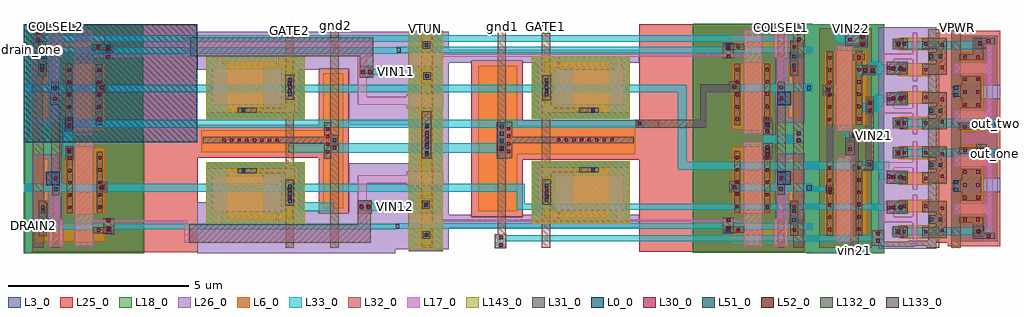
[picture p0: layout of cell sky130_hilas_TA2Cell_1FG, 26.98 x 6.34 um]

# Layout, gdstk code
from math import pi, radians
import gdstk
lib = gdstk.Library(unit=1e-6, precision=1e-09)
def R(c, l, rs):  # rectangles x0, y0, x1, y1
    for r in rs: c.add(gdstk.rectangle(r[:2], r[2:], *l))
def A(c, l, x, y, w, h, nx, ny, dx, dy):  # array of equal rectangles
    R(c, l, [(x+i*dx, y+j*dy, x+i*dx+w, y+j*dy+h) for i in range(nx) for j in range(ny)])
L0_0 = (0, 0)
L3_0 = (3, 0)
L6_0 = (6, 0)
L17_0 = (17, 0)
L18_0 = (18, 0)
L25_0 = (25, 0)
L26_0 = (26, 0)
L30_0 = (30, 0)
L31_0 = (31, 0)
L32_0 = (32, 0)
L33_0 = (33, 0)
L51_0 = (51, 0)
L52_0 = (52, 0)
L132_0 = (132, 0)
L133_0 = (133, 0)
L143_0 = (143, 0)

sky130_hilas_tuncap01 = lib.new_cell('sky130_hilas_TunCap01')
R(sky130_hilas_tuncap01, L3_0, [(0,0,0.94,1.645)])
R(sky130_hilas_tuncap01, L6_0, [(0.27,0.16,0.67,1.485)])
R(sky130_hilas_tuncap01, L18_0, [(0,0,0.94,1.645)])
R(sky130_hilas_tuncap01, L26_0, [(0,0,0.835,1.645)])

m1_od_cdns_6762160964511 = lib.new_cell('M1_OD_CDNS_6762160964511')
R(m1_od_cdns_6762160964511, L6_0, [(-0.075,-0.18,0.075,0.18)])
R(m1_od_cdns_6762160964511, L30_0, [(-0.045,-0.15,0.045,-0.06), (-0.045,0.06,0.045,0.15)])
R(m1_od_cdns_6762160964511, L31_0, [(-0.085,-0.19,0.085,0.19)])

m2_m1_cdns_6762160964512 = lib.new_cell('M2_M1_CDNS_6762160964512')
R(m2_m1_cdns_6762160964512, L31_0, [(-0.09,-0.29,0.09,0.29)])
R(m2_m1_cdns_6762160964512, L32_0, [(-0.09,-0.29,0.09,0.29)])
A(m2_m1_cdns_6762160964512, L51_0, -0.05, -0.25, 0.1, 0.1, 1, 3, 0, 0.2)

sky130_hilas_fgvaractorc = lib.new_cell('sky130_hilas_FGVaractorCapacitor02')
R(sky130_hilas_fgvaractorc, L3_0, [(0,0,2.72,1.735)])
R(sky130_hilas_fgvaractorc, L6_0, [(1.15,0.18,2.15,1.425), (0.33,0.43,0.55,1.425), (0.33,1.425,2.15,1.575)])
R(sky130_hilas_fgvaractorc, L17_0, [(0.64,0.375,2.56,1.375)])
R(sky130_hilas_fgvaractorc, L18_0, [(0,0,2.72,1.735)])
R(sky130_hilas_fgvaractorc, L26_0, [(0.17,0.16,2.72,1.695)])
R(sky130_hilas_fgvaractorc, L30_0, [(1.65,0.195,1.74,0.285)])
R(sky130_hilas_fgvaractorc, L31_0, [(1.32,0.17,1.85,0.305), (0.3,0.52,0.53,1.21)])
R(sky130_hilas_fgvaractorc, L32_0, [(0.28,0.17,0.54,0.49), (0.285,0.17,1.85,0.305), (0.28,0.47,0.54,1.26)])
R(sky130_hilas_fgvaractorc, L51_0, [(1.645,0.19,1.745,0.29)])
R(sky130_hilas_fgvaractorc, L143_0, [(0,0,2.72,1.735)])
sky130_hilas_fgvaractorc.add(gdstk.Reference(m1_od_cdns_6762160964511, (0.42,0.87)))
sky130_hilas_fgvaractorc.add(gdstk.Reference(m2_m1_cdns_6762160964512, (0.41,0.875)))

sky130_hilas_horiztransc = lib.new_cell('sky130_hilas_horizTransCell01')
R(sky130_hilas_horiztransc, L0_0, [(3.815,1.86,4.185,2.23)])
R(sky130_hilas_horiztransc, L3_0, [(1.485,-0.02,4.785,3.24)])
R(sky130_hilas_horiztransc, L6_0, [(2.555,0.29,4.455,0.76), (4.12,1.05,4.45,2.585), (2.555,1.07,3.665,2.91)])
R(sky130_hilas_horiztransc, L17_0, [(2.895,0.15,3.395,0.88), (3.715,0.15,4.115,0.9), (0.355,0.83,3.395,0.89), (2.895,0.855,3.395,3.05), (3.825,0.9,4.115,0.92), (3.825,0.92,4.055,1.58), (3.785,1.58,4.055,1.87), (3.785,1.87,4.055,2.21)])
R(sky130_hilas_horiztransc, L25_0, [(0,0,4.585,0.92), (0,0.92,3.795,3.2)])
R(sky130_hilas_horiztransc, L26_0, [(3.795,0.92,4.58,2.715)])
A(sky130_hilas_horiztransc, L30_0, 3.495, 1.2, 0.09, 0.09, 1, 5, 0, 0.34)
A(sky130_hilas_horiztransc, L30_0, 2.665, 1.21, 0.09, 0.09, 1, 5, 0, 0.34)
R(sky130_hilas_horiztransc, L30_0, [(2.69,0.57,2.78,0.66), (4.24,0.57,4.33,0.66), (4.24,1.205,4.33,1.295), (3.885,2,3.975,2.09)])
R(sky130_hilas_horiztransc, L31_0, [(4.175,0.45,4.395,0.8), (2.375,0.53,2.905,0.7), (4.175,0.8,4.395,0.83), (4.175,0.83,4.395,1.41), (3.455,1.08,3.625,2.69), (2.625,1.09,2.795,2.78), (4.175,1.41,4.395,1.42), (3.825,1.58,4.025,1.59), (3.825,1.59,4.025,1.88), (3.815,1.88,4.055,2.21), (3.455,2.69,3.625,2.88)])
R(sky130_hilas_horiztransc, L32_0, [(3.825,0.13,4.015,1.58), (4.265,0.13,4.435,0.77), (2.315,0.5,2.615,0.94), (4.155,0.77,4.435,1.32), (4.155,1.32,4.435,1.37), (4.265,1.37,4.435,1.46), (4.265,1.46,4.435,3.15), (3.825,1.58,4.055,1.61), (3.805,1.61,4.055,1.88), (3.815,1.88,4.055,1.89), (3.815,1.89,4.045,2.13), (3.815,2.13,4.045,3.15), (3.425,2.56,3.665,2.94)])
R(sky130_hilas_horiztransc, L33_0, [(2.315,0.61,2.615,0.62), (2.315,0.62,4.785,0.8), (2.315,0.8,2.615,0.94)])
R(sky130_hilas_horiztransc, L51_0, [(2.415,0.565,2.515,0.665), (4.23,0.835,4.33,0.935), (4.23,1.085,4.33,1.185), (3.875,1.695,3.975,1.795), (3.495,2.735,3.595,2.835)])
R(sky130_hilas_horiztransc, L52_0, [(2.415,0.615,2.515,0.715), (2.415,0.835,2.515,0.935)])

m2_m1_cdns_6762160964513 = lib.new_cell('M2_M1_CDNS_6762160964513')
R(m2_m1_cdns_6762160964513, L31_0, [(-0.09,-0.09,0.09,0.09)])
R(m2_m1_cdns_6762160964513, L32_0, [(-0.115,-0.115,0.115,0.115)])
R(m2_m1_cdns_6762160964513, L51_0, [(-0.05,-0.05,0.05,0.05)])

m3_m2_cdns_6762160964514 = lib.new_cell('M3_M2_CDNS_6762160964514')
R(m3_m2_cdns_6762160964514, L32_0, [(-0.115,-0.115,0.115,0.115)])
R(m3_m2_cdns_6762160964514, L33_0, [(-0.09,-0.09,0.09,0.09)])
R(m3_m2_cdns_6762160964514, L52_0, [(-0.05,-0.05,0.05,0.05)])

sky130_hilas_li2m2 = lib.new_cell('sky130_hilas_li2m2')
R(sky130_hilas_li2m2, L32_0, [(-0.11,-0.125,0.19,0.175)])
R(sky130_hilas_li2m2, L33_0, [(-0.11,-0.125,0.19,0.175)])
sky130_hilas_li2m2.add(gdstk.Reference(m2_m1_cdns_6762160964513, (0.04,0.02)))
sky130_hilas_li2m2.add(gdstk.Reference(m3_m2_cdns_6762160964514, (0.04,0.02)))

m1_od_cdns_676216096455 = lib.new_cell('M1_OD_CDNS_676216096455')
R(m1_od_cdns_676216096455, L6_0, [(-0.81,-0.075,0.81,0.075)])
A(m1_od_cdns_676216096455, L30_0, -0.78, -0.045, 0.09, 0.09, 8, 1, 0.21, 0)
R(m1_od_cdns_676216096455, L31_0, [(-0.82,-0.085,0.82,0.085)])

m1_od_cdns_676216096456 = lib.new_cell('M1_OD_CDNS_676216096456')
R(m1_od_cdns_676216096456, L6_0, [(-0.075,-0.39,0.075,0.39)])
A(m1_od_cdns_676216096456, L30_0, -0.045, -0.36, 0.09, 0.09, 1, 4, 0, 0.21)
R(m1_od_cdns_676216096456, L31_0, [(-0.085,-0.4,0.085,0.4)])

m3_m2_cdns_676216096452 = lib.new_cell('M3_M2_CDNS_676216096452')
R(m3_m2_cdns_676216096452, L32_0, [(-0.09,-0.19,0.09,0.19)])
R(m3_m2_cdns_676216096452, L33_0, [(-0.09,-0.19,0.09,0.19)])
R(m3_m2_cdns_676216096452, L52_0, [(-0.05,-0.15,0.05,-0.05), (-0.05,0.05,0.05,0.15)])

m2_m1_cdns_676216096457 = lib.new_cell('M2_M1_CDNS_676216096457')
R(m2_m1_cdns_676216096457, L31_0, [(-0.105,-0.105,0.105,0.105)])
R(m2_m1_cdns_676216096457, L32_0, [(-0.09,-0.09,0.09,0.09)])
R(m2_m1_cdns_676216096457, L51_0, [(-0.05,-0.05,0.05,0.05)])

m1_od_cdns_676216096458 = lib.new_cell('M1_OD_CDNS_676216096458')
R(m1_od_cdns_676216096458, L6_0, [(-0.075,-0.075,0.075,0.075)])
R(m1_od_cdns_676216096458, L30_0, [(-0.045,-0.045,0.045,0.045)])
R(m1_od_cdns_676216096458, L31_0, [(-0.105,-0.105,0.105,0.105)])

m2_m1_cdns_676216096459 = lib.new_cell('M2_M1_CDNS_676216096459')
R(m2_m1_cdns_676216096459, L31_0, [(-0.09,-0.49,0.09,0.49)])
R(m2_m1_cdns_676216096459, L32_0, [(-0.09,-0.49,0.09,0.49)])
A(m2_m1_cdns_676216096459, L51_0, -0.05, -0.45, 0.1, 0.1, 1, 5, 0, 0.2)

m1_od_cdns_6762160964510 = lib.new_cell('M1_OD_CDNS_6762160964510')
R(m1_od_cdns_6762160964510, L6_0, [(-0.075,-0.45,0.075,0.45)])
A(m1_od_cdns_6762160964510, L30_0, -0.045, -0.405, 0.09, 0.09, 1, 4, 0, 0.24)
R(m1_od_cdns_6762160964510, L31_0, [(-0.09,-0.49,0.09,0.49)])

sky130_hilas_fgbias2x1ce = lib.new_cell('sky130_hilas_FGBias2x1cell_v2')
R(sky130_hilas_fgbias2x1ce, L3_0, [(0.365,1.68,1.305,4.49)])
R(sky130_hilas_fgbias2x1ce, L6_0, [(9.33,1.135,10.33,2.89), (2.28,1.15,3.36,2.99), (0.635,1.555,1.035,4.62), (2.28,2.725,6.62,3.51), (2.28,3.24,3.36,5.17)])
R(sky130_hilas_fgbias2x1ce, L17_0, [(0.355,0.7,1.305,1.1), (1.305,0.85,7.09,0.91), (4.48,0.91,4.54,1.385), (6.1,0.91,6.27,1.385), (4.48,4.845,4.54,5.42), (6.085,4.845,6.255,5.42), (0.355,5.145,1.305,5.545), (1.305,5.42,7.09,5.48)])
R(sky130_hilas_fgbias2x1ce, L18_0, [(8.22,0,11.52,6.33), (0.365,1.68,1.305,4.495)])
R(sky130_hilas_fgbias2x1ce, L25_0, [(2.095,1,3.51,2.575), (2.095,2.575,6.77,3.66), (9.165,3.055,10.525,3.275), (2.095,3.66,3.51,5.32)])
R(sky130_hilas_fgbias2x1ce, L26_0, [(0.365,1.685,1.305,4.49)])
R(sky130_hilas_fgbias2x1ce, L31_0, [(4.06,1.99,4.29,2.03), (3.03,2.61,3.22,3.03), (2.84,2.99,3.03,3.22), (3.03,3.03,6.58,3.21), (3.03,3.21,3.22,3.62)])
R(sky130_hilas_fgbias2x1ce, L32_0, [(0.71,0.14,1.01,6.19), (2.82,0.14,3.05,6.19), (4.04,0.14,4.27,6.19), (11,0.14,11.28,6.19), (10.15,2.7,10.43,3.02), (2.82,2.96,3.05,3.25), (11,3.02,11.28,3.34), (10.15,3.3,10.43,3.62)])
R(sky130_hilas_fgbias2x1ce, L33_0, [(0,0.66,9.09,0.76), (0,0.76,9.21,0.81), (9.05,0.81,9.21,0.83), (9.48,1.7,11.52,1.91), (10.15,2.625,10.43,2.73), (10.15,2.73,10.43,3.01), (10.15,3.01,11,3.265), (11,3.01,11.28,3.39), (11,3.05,11.28,3.33), (10.15,3.265,10.43,3.655), (10.15,3.33,10.43,3.61), (9.49,4.45,11.52,4.67), (0,5.51,9.11,5.69)])
R(sky130_hilas_fgbias2x1ce, L51_0, [(2.885,3.055,2.985,3.155)])
R(sky130_hilas_fgbias2x1ce, L132_0, [(4.08,6.06,4.245,6.16), (11.1,6.07,11.26,6.17), (10.59,6.09,10.705,6.16), (0.76,6.095,0.975,6.16)])
R(sky130_hilas_fgbias2x1ce, L133_0, [(0.01,0.675,0.095,0.79), (11.37,1.73,11.5,1.86), (11.375,4.495,11.475,4.62), (0.025,5.535,0.135,5.665)])
R(sky130_hilas_fgbias2x1ce, L143_0, [(0.365,0.11,1.305,6.065)])
sky130_hilas_fgbias2x1ce.add(gdstk.Reference(sky130_hilas_tuncap01, (0.365,4.495)))
sky130_hilas_fgbias2x1ce.add(gdstk.Reference(sky130_hilas_tuncap01, (0.365,1.68), x_reflection=True))
sky130_hilas_fgbias2x1ce.add(gdstk.Reference(sky130_hilas_fgvaractorc, (3.76,2.53), x_reflection=True))
sky130_hilas_fgbias2x1ce.add(gdstk.Reference(sky130_hilas_fgvaractorc, (3.76,3.7)))
sky130_hilas_fgbias2x1ce.add(gdstk.Reference(sky130_hilas_horiztransc, (6.735,6.31), x_reflection=True))
sky130_hilas_fgbias2x1ce.add(gdstk.Reference(sky130_hilas_horiztransc, (6.735,0.02)))
sky130_hilas_fgbias2x1ce.add(gdstk.Reference(sky130_hilas_li2m2, (9.33,1.8)))
sky130_hilas_fgbias2x1ce.add(gdstk.Reference(sky130_hilas_li2m2, (9.33,4.56)))
sky130_hilas_fgbias2x1ce.add(gdstk.Reference(m1_od_cdns_676216096455, (5.245,3.12)))
sky130_hilas_fgbias2x1ce.add(gdstk.Reference(m1_od_cdns_676216096456, (3.125,3.115)))
sky130_hilas_fgbias2x1ce.add(gdstk.Reference(m3_m2_cdns_676216096452, (10.275,3.455)))
sky130_hilas_fgbias2x1ce.add(gdstk.Reference(m3_m2_cdns_676216096452, (10.285,2.815)))
sky130_hilas_fgbias2x1ce.add(gdstk.Reference(m3_m2_cdns_676216096452, (11.145,3.2)))
sky130_hilas_fgbias2x1ce.add(gdstk.Reference(m2_m1_cdns_676216096457, (0.855,5.745)))
sky130_hilas_fgbias2x1ce.add(gdstk.Reference(m2_m1_cdns_676216096457, (0.855,0.485)))
sky130_hilas_fgbias2x1ce.add(gdstk.Reference(m2_m1_cdns_676216096457, (0.845,1.325)))
sky130_hilas_fgbias2x1ce.add(gdstk.Reference(m2_m1_cdns_676216096457, (0.865,4.885)))
sky130_hilas_fgbias2x1ce.add(gdstk.Reference(m1_od_cdns_676216096458, (0.855,5.745)))
sky130_hilas_fgbias2x1ce.add(gdstk.Reference(m1_od_cdns_676216096458, (0.855,0.485)))
sky130_hilas_fgbias2x1ce.add(gdstk.Reference(m1_od_cdns_676216096458, (0.845,1.325)))
sky130_hilas_fgbias2x1ce.add(gdstk.Reference(m1_od_cdns_676216096458, (0.865,4.885)))
sky130_hilas_fgbias2x1ce.add(gdstk.Reference(m2_m1_cdns_676216096459, (0.865,3.12)))
sky130_hilas_fgbias2x1ce.add(gdstk.Reference(m1_od_cdns_6762160964510, (0.865,3.12)))
sky130_hilas_fgbias2x1ce.add(gdstk.Label('DRAINONE', (0.085,5.625), layer=133, texttype=0))
sky130_hilas_fgbias2x1ce.add(gdstk.Label('DRAINTWO', (0.07,0.77), layer=133, texttype=0))
sky130_hilas_fgbias2x1ce.add(gdstk.Label('Output', (11.455,1.795), layer=133, texttype=0))
sky130_hilas_fgbias2x1ce.add(gdstk.Label('OutputTwo', (11.44,4.565), layer=133, texttype=0))
sky130_hilas_fgbias2x1ce.add(gdstk.Label('GATE1', (4.15,6.125), layer=132, texttype=0))
sky130_hilas_fgbias2x1ce.add(gdstk.Label('VTUN', (0.87,6.135), layer=132, texttype=0))
sky130_hilas_fgbias2x1ce.add(gdstk.Label('VINJ', (11.185,6.13), layer=132, texttype=0))
sky130_hilas_fgbias2x1ce.add(gdstk.Label('COLSELONE', (10.625,6.115), layer=132, texttype=0))

m2_m1_cdns_6762160964515 = lib.new_cell('M2_M1_CDNS_6762160964515')
R(m2_m1_cdns_6762160964515, L31_0, [(-0.09,-0.09,0.09,0.09)])
R(m2_m1_cdns_6762160964515, L32_0, [(-0.09,-0.09,0.09,0.09)])
R(m2_m1_cdns_6762160964515, L51_0, [(-0.05,-0.05,0.05,0.05)])

m3_m2_cdns_676216096451 = lib.new_cell('M3_M2_CDNS_676216096451')
R(m3_m2_cdns_676216096451, L32_0, [(-0.09,-0.09,0.09,0.09)])
R(m3_m2_cdns_676216096451, L33_0, [(-0.09,-0.09,0.09,0.09)])
R(m3_m2_cdns_676216096451, L52_0, [(-0.05,-0.05,0.05,0.05)])

m2_m1_cdns_6762160964516 = lib.new_cell('M2_M1_CDNS_6762160964516')
R(m2_m1_cdns_6762160964516, L31_0, [(-0.19,-0.09,0.19,0.09)])
R(m2_m1_cdns_6762160964516, L32_0, [(-0.19,-0.09,0.19,0.09)])
R(m2_m1_cdns_6762160964516, L51_0, [(-0.15,-0.05,-0.05,0.05), (0.05,-0.05,0.15,0.05)])

m3_m2_cdns_6762160964517 = lib.new_cell('M3_M2_CDNS_6762160964517')
R(m3_m2_cdns_6762160964517, L32_0, [(-0.19,-0.09,0.19,0.09)])
R(m3_m2_cdns_6762160964517, L33_0, [(-0.19,-0.09,0.19,0.09)])
R(m3_m2_cdns_6762160964517, L52_0, [(-0.15,-0.05,-0.05,0.05), (0.05,-0.05,0.15,0.05)])

sky130_hilas_fgbiasweakg = lib.new_cell('sky130_hilas_FGBiasWeakGate2x1cell')
R(sky130_hilas_fgbiasweakg, L0_0, [(5.565,3.07,10.35,6.33)])
R(sky130_hilas_fgbiasweakg, L6_0, [(1.52,1.245,2.08,2.99), (1.52,2.79,5.45,3.4), (1.52,3.24,2.08,4.97)])
R(sky130_hilas_fgbiasweakg, L17_0, [(0.76,0.29,5.92,0.79), (4.88,0.555,5.05,1.385), (3.31,0.57,3.37,1.385), (0.88,0.64,1.125,2.15), (5.84,0.79,5.92,0.91), (0,1.935,0.88,2.15), (0,4.105,0.88,4.32), (0.88,4.105,1.125,5.72), (3.31,4.845,3.37,5.745), (4.855,4.845,5.025,5.73), (5.81,5.42,5.92,5.97), (0.72,5.44,5.92,5.97)])
R(sky130_hilas_fgbiasweakg, L18_0, [(7.05,0,10.35,6.33)])
R(sky130_hilas_fgbiasweakg, L25_0, [(1.37,1.095,2.205,2.64), (1.37,2.64,5.575,3.55), (7.995,3.055,9.355,3.275), (1.37,3.55,2.205,5.095)])
R(sky130_hilas_fgbiasweakg, L31_0, [(0.76,0.29,5.78,0.79), (0.73,1.09,1.11,1.17), (0.73,1.17,1.11,1.46), (2.89,1.99,3.12,2.03), (1.86,2.61,2.05,3.03), (1.665,2.965,1.86,3.265), (1.86,3.03,5.41,3.21), (1.86,3.21,2.05,3.62), (0.69,4.85,1.07,5.1), (0.69,5.1,1.07,5.18), (0.72,5.44,5.75,5.97)])
R(sky130_hilas_fgbiasweakg, L32_0, [(1.65,0.14,1.88,4.97), (2.885,0.14,3.115,6.19), (9.39,0.14,9.58,0.2), (9.83,0.14,10.11,6.19), (0.73,1.09,1.11,1.46), (0.69,4.85,1.07,5.18), (1.65,4.97,1.88,5.22), (1.65,5.22,1.88,6.19), (9.39,6.13,9.58,6.19)])
R(sky130_hilas_fgbiasweakg, L33_0, [(0,0.66,7.92,0.76), (0,0.76,8.04,0.81), (7.88,0.81,8.04,0.83), (0,1.17,0.77,1.38), (0.73,1.17,1.11,1.46), (0,1.69,9.04,1.7), (0,1.7,10.35,1.91), (9,2.695,9.28,3.47), (0,3.47,9.28,3.69), (0,4.44,9.04,4.45), (0,4.45,10.35,4.66), (8.32,4.66,10.35,4.67), (0.69,4.85,1.07,5.18), (0.69,4.85,1.07,5.18), (0,4.93,1.07,5.09), (0,5.51,7.94,5.69)])
sky130_hilas_fgbiasweakg.add(gdstk.Reference(sky130_hilas_li2m2, (8.16,4.56)))
sky130_hilas_fgbiasweakg.add(gdstk.Reference(sky130_hilas_li2m2, (8.16,1.8)))
sky130_hilas_fgbiasweakg.add(gdstk.Reference(sky130_hilas_fgvaractorc, (2.59,2.515), x_reflection=True))
sky130_hilas_fgbiasweakg.add(gdstk.Reference(sky130_hilas_fgvaractorc, (2.59,3.715)))
sky130_hilas_fgbiasweakg.add(gdstk.Reference(sky130_hilas_horiztransc, (5.565,6.31), x_reflection=True))
sky130_hilas_fgbiasweakg.add(gdstk.Reference(sky130_hilas_horiztransc, (5.545,0.02)))
sky130_hilas_fgbiasweakg.add(gdstk.Reference(m2_m1_cdns_6762160964515, (1.77,3.12)))
sky130_hilas_fgbiasweakg.add(gdstk.Reference(m3_m2_cdns_676216096451, (9.11,3.525)))
sky130_hilas_fgbiasweakg.add(gdstk.Reference(m3_m2_cdns_676216096451, (9.105,2.85)))
sky130_hilas_fgbiasweakg.add(gdstk.Reference(m1_od_cdns_676216096456, (1.955,3.115)))
sky130_hilas_fgbiasweakg.add(gdstk.Reference(m1_od_cdns_676216096455, (4.085,3.12)))
sky130_hilas_fgbiasweakg.add(gdstk.Reference(m2_m1_cdns_6762160964516, (0.92,1.28)))
sky130_hilas_fgbiasweakg.add(gdstk.Reference(m2_m1_cdns_6762160964516, (0.88,5.005)))
sky130_hilas_fgbiasweakg.add(gdstk.Reference(m3_m2_cdns_6762160964517, (0.92,1.28)))
sky130_hilas_fgbiasweakg.add(gdstk.Reference(m3_m2_cdns_6762160964517, (0.88,5.005)))

sky130_hilas_ptransistor = lib.new_cell('sky130_hilas_pTransistorVert01')
R(sky130_hilas_ptransistor, L3_0, [(-3.765,-4.44,-1.63,-1.45)])
R(sky130_hilas_ptransistor, L6_0, [(-3.29,-3.96,-2.1,-1.93), (-3.245,-3.925,-2.165,-1.975)])
R(sky130_hilas_ptransistor, L17_0, [(-2.95,-4.11,-2.51,-1.75)])
R(sky130_hilas_ptransistor, L25_0, [(-3.42,-4.62,-1.97,-1.57)])
A(sky130_hilas_ptransistor, L30_0, -2.37, -3.84, 0.09, 0.09, 1, 6, 0, 0.34)
A(sky130_hilas_ptransistor, L30_0, -3.18, -3.83, 0.09, 0.09, 1, 6, 0, 0.34)
R(sky130_hilas_ptransistor, L31_0, [(-2.41,-3.98,-2.23,-1.93), (-3.22,-3.97,-3.04,-1.92), (-2.49,-3.88,-2.16,-3.71), (-2.41,-3.71,-2.24,-1.93)])

m2_m1_cdns_6762160964518 = lib.new_cell('M2_M1_CDNS_6762160964518')
R(m2_m1_cdns_6762160964518, L31_0, [(-0.09,-0.19,0.09,0.19)])
R(m2_m1_cdns_6762160964518, L32_0, [(-0.09,-0.19,0.09,0.19)])
R(m2_m1_cdns_6762160964518, L51_0, [(-0.05,-0.15,0.05,-0.05), (-0.05,0.05,0.05,0.15)])

c_sky130_hilas_ptransistor = lib.new_cell('sky130_hilas_pTransistorPair_v2')
R(c_sky130_hilas_ptransistor, L3_0, [(1.475,2.88,1.925,3.11), (0,3.17,2.135,3.24)])
R(c_sky130_hilas_ptransistor, L17_0, [(1.055,0.175,1.325,0.545), (1.075,0.5,1.285,0.51), (1.055,3.2,1.325,3.57)])
R(c_sky130_hilas_ptransistor, L18_0, [(0,0.18,2.135,6.22)])
R(c_sky130_hilas_ptransistor, L30_0, [(1.15,0.295,1.24,0.385), (1.15,3.32,1.24,3.41)])
R(c_sky130_hilas_ptransistor, L31_0, [(1.055,0.085,1.325,0.215), (1.325,0.165,1.685,0.505), (1.055,0.175,1.325,0.505), (1.295,0.26,1.46,0.435), (1.325,0.505,1.685,0.545), (1.355,1.09,1.635,1.265), (1.635,2,1.845,2.38), (0.545,2.65,0.725,3.71), (1.055,3.045,1.325,3.24), (1.055,3.2,1.325,3.53), (1.635,3.67,1.815,3.9), (1.595,3.79,1.675,3.87), (1.595,3.87,1.815,3.96)])
R(c_sky130_hilas_ptransistor, L32_0, [(1.525,1.045,1.905,1.31), (1.635,1.92,1.845,3.69), (1.635,2.03,1.845,2.35), (1.635,3.64,1.845,3.93)])
R(c_sky130_hilas_ptransistor, L33_0, [(1.625,0.165,1.685,0.2), (0.815,0.2,1.685,0.44), (1.355,1.03,1.905,1.33), (1.635,2,1.845,2.38), (1.535,2.08,2.005,2.33), (1.635,2.08,1.87,2.33), (1.055,2.88,1.925,3.11)])
R(c_sky130_hilas_ptransistor, L51_0, [(1.68,3.735,1.78,3.835)])
c_sky130_hilas_ptransistor.add(gdstk.Reference(sky130_hilas_li2m2, (0.555,1.7)))
c_sky130_hilas_ptransistor.add(gdstk.Reference(sky130_hilas_li2m2, (1.285,2.975)))
c_sky130_hilas_ptransistor.add(gdstk.Reference(sky130_hilas_ptransistor, (3.765,7.67)))
c_sky130_hilas_ptransistor.add(gdstk.Reference(sky130_hilas_ptransistor, (3.765,4.62)))
c_sky130_hilas_ptransistor.add(gdstk.Reference(m3_m2_cdns_676216096452, (1.535,0.355)))
c_sky130_hilas_ptransistor.add(gdstk.Reference(m3_m2_cdns_676216096452, (1.75,2.19)))
c_sky130_hilas_ptransistor.add(gdstk.Reference(m2_m1_cdns_6762160964518, (1.535,0.355)))
c_sky130_hilas_ptransistor.add(gdstk.Reference(m2_m1_cdns_6762160964518, (1.75,2.19)))
c_sky130_hilas_ptransistor.add(gdstk.Reference(m2_m1_cdns_6762160964516, (1.715,1.18)))
c_sky130_hilas_ptransistor.add(gdstk.Reference(m3_m2_cdns_6762160964517, (1.715,1.18)))

sky130_hilas_pfetmirror0 = lib.new_cell('sky130_hilas_pFETmirror02')
R(sky130_hilas_pfetmirror0, L3_0, [(-0.58,0.89,0.67,3.73)])
R(sky130_hilas_pfetmirror0, L6_0, [(-0.4,1.36,0.28,2.24), (-0.4,2.24,0.28,2.65), (-0.4,2.65,0.28,3.54)])
R(sky130_hilas_pfetmirror0, L17_0, [(0.25,0.9,0.58,1.17), (0.36,1.12,0.53,1.64), (-0.54,1.64,0.53,1.94), (0.36,1.94,0.53,2.95), (-0.54,2.95,0.53,3.25)])
R(sky130_hilas_pfetmirror0, L25_0, [(-0.72,0.75,0.73,2.26), (-0.72,2.63,0.73,3.67)])
R(sky130_hilas_pfetmirror0, L26_0, [(-0.54,2.26,0.73,2.63)])
R(sky130_hilas_pfetmirror0, L30_0, [(0.37,0.99,0.46,1.08), (-0.285,1.44,-0.195,1.53), (0.075,1.44,0.165,1.53), (-0.285,2.05,-0.195,2.14), (0.075,2.05,0.165,2.14), (-0.285,2.4,-0.195,2.49), (0.075,2.4,0.165,2.49), (-0.285,2.755,-0.195,2.845), (0.075,2.755,0.165,2.845), (-0.285,3.355,-0.195,3.445), (0.075,3.355,0.165,3.445)])
R(sky130_hilas_pfetmirror0, L31_0, [(-0.03,0.95,0.27,1.12), (0.25,0.95,0.58,1.12), (-0.03,1.12,0.27,1.4), (-0.4,1.4,0.27,1.57), (-0.325,2,0.205,2.895), (-0.41,3.3,0.295,3.49)])

sky130_hilas_nfet03 = lib.new_cell('sky130_hilas_nFET03')
R(sky130_hilas_nfet03, L6_0, [(-0.31,-0.06,0.58,0.29), (0.1,0,0.4,0.2)])
R(sky130_hilas_nfet03, L17_0, [(0.07,-0.2,0.2,0.43), (0.1,0.1,0.2,0.2)])
R(sky130_hilas_nfet03, L26_0, [(-0.44,-0.36,0.725,0.58)])
R(sky130_hilas_nfet03, L30_0, [(-0.205,0.07,-0.115,0.16), (0.385,0.07,0.475,0.16)])
R(sky130_hilas_nfet03, L31_0, [(-0.26,-0.03,-0.06,0.28), (0.33,-0.02,0.53,0.28), (-0.2,0.1,-0.1,0.2), (0.4,0.1,0.5,0.2)])
sky130_hilas_nfet03.add(gdstk.Label('VGND', (0.5,-0.7), layer=6, texttype=0))
sky130_hilas_nfet03.add(gdstk.Label('GATE', (0.1,0.5), layer=17, texttype=0))
sky130_hilas_nfet03.add(gdstk.Label('DRAIN', (-0.6,0.4), layer=31, texttype=0))
sky130_hilas_nfet03.add(gdstk.Label('SOURCE', (0.9,0.4), layer=31, texttype=0))

sky130_hilas_nmirror03 = lib.new_cell('sky130_hilas_nMirror03')
R(sky130_hilas_nmirror03, L6_0, [(-0.045,0.07,0.995,0.08), (0.99,0.07,1.28,1.1), (0.84,0.08,0.99,1.09), (-0.045,1.09,0.995,1.1)])
R(sky130_hilas_nmirror03, L17_0, [(0.335,-0.07,0.465,-0.05), (0.335,0.07,0.465,0.08), (-0.46,0.1,-0.19,0.43), (-0.46,0.43,-0.19,0.51), (-0.46,0.51,0.465,0.66), (-0.46,0.51,0.285,0.56), (0.335,1.09,0.465,1.1), (0.335,1.22,0.465,1.24)])
R(sky130_hilas_nmirror03, L25_0, [(0.99,-0.06,1.3,1.23)])
R(sky130_hilas_nmirror03, L26_0, [(-0.61,-0.22,-0.175,1.39), (-0.175,-0.055,0.99,0.205), (0.715,0.205,0.99,0.555), (-0.175,0.555,0.99,0.615), (0.715,0.615,0.99,0.965), (-0.175,0.965,0.99,1.225)])
R(sky130_hilas_nmirror03, L30_0, [(-0.37,0.22,-0.28,0.31), (1.105,0.23,1.195,0.32), (1.105,0.85,1.195,0.94)])
R(sky130_hilas_nmirror03, L31_0, [(-0.385,0.07,0.205,0.43), (0.79,0.08,1.28,0.38), (-0.385,0.1,-0.165,0.43), (0.99,0.12,1.28,1.09), (0.8,0.47,0.99,0.7), (0.79,0.79,1.28,1.09)])
R(sky130_hilas_nmirror03, L32_0, [(-0.385,0.07,0.205,0.43), (0.78,0.44,1.08,0.74), (0.78,0.44,1.16,0.74)])
R(sky130_hilas_nmirror03, L33_0, [(-0.385,0.07,0.205,0.43), (-0.59,0.175,-0.22,0.35)])
R(sky130_hilas_nmirror03, L51_0, [(0.8,0.535,0.9,0.635), (1.06,0.535,1.16,0.635)])
sky130_hilas_nmirror03.add(gdstk.Reference(sky130_hilas_li2m2, (-0.1,0.9)))
sky130_hilas_nmirror03.add(gdstk.Reference(sky130_hilas_nfet03, (0.265,0.1)))
sky130_hilas_nmirror03.add(gdstk.Reference(sky130_hilas_nfet03, (0.265,0.81)))
sky130_hilas_nmirror03.add(gdstk.Reference(m2_m1_cdns_6762160964516, (-0.1,0.25)))
sky130_hilas_nmirror03.add(gdstk.Reference(m3_m2_cdns_6762160964517, (-0.1,0.25)))

sky130_hilas_dualtacore0 = lib.new_cell('sky130_hilas_DualTACore01_v2')
R(sky130_hilas_dualtacore0, L25_0, [(2.015,0.55,2.09,1.45), (1.6,1.45,2.09,1.67), (1.91,1.67,2.09,2.95), (1.6,2.95,2.105,2.98), (1.6,2.98,3.36,3.11), (1.6,3.11,2.105,3.17), (1.91,3.17,2.09,4.45), (1.6,4.45,2.09,4.67), (2.015,4.67,2.09,5.54)])
A(sky130_hilas_dualtacore0, L26_0, 0.435, 1.45, 1.165, 0.22, 1, 3, 0, 1.5)
R(sky130_hilas_dualtacore0, L31_0, [(2.055,1.575,2.34,1.895), (2.055,4.195,2.32,4.495)])
R(sky130_hilas_dualtacore0, L32_0, [(1.38,0.205,1.68,5.925), (2.01,0.215,2.28,5.915), (2.035,1.575,2.265,1.895), (2.035,4.195,2.265,4.495)])
R(sky130_hilas_dualtacore0, L33_0, [(0.38,0.365,3.09,0.595), (0.39,2.535,3.3,2.755), (0.65,3.355,3.3,3.585), (0.4,5.505,2.96,5.725)])
R(sky130_hilas_dualtacore0, L51_0, [(2.1,1.575,2.2,1.675), (2.1,1.795,2.2,1.895), (2.1,4.195,2.2,4.295), (2.1,4.395,2.2,4.495)])
sky130_hilas_dualtacore0.add(gdstk.Reference(sky130_hilas_li2m2, (2.73,0.455)))
sky130_hilas_dualtacore0.add(gdstk.Reference(sky130_hilas_li2m2, (2.81,2.705)))
sky130_hilas_dualtacore0.add(gdstk.Reference(sky130_hilas_li2m2, (2.77,5.645)))
sky130_hilas_dualtacore0.add(gdstk.Reference(sky130_hilas_li2m2, (2.82,3.425)))
sky130_hilas_dualtacore0.add(gdstk.Reference(sky130_hilas_pfetmirror0, (2.63,-0.685)))
sky130_hilas_dualtacore0.add(gdstk.Reference(sky130_hilas_pfetmirror0, (2.63,6.775), x_reflection=True))
sky130_hilas_dualtacore0.add(gdstk.Reference(sky130_hilas_nmirror03, (0.61,1.39), x_reflection=True))
sky130_hilas_dualtacore0.add(gdstk.Reference(sky130_hilas_nmirror03, (0.61,1.725)))
sky130_hilas_dualtacore0.add(gdstk.Reference(sky130_hilas_nmirror03, (0.61,4.395), x_reflection=True))
sky130_hilas_dualtacore0.add(gdstk.Reference(sky130_hilas_nmirror03, (0.61,4.73)))

m2_m1_cdns_676216096450 = lib.new_cell('M2_M1_CDNS_676216096450')
R(m2_m1_cdns_676216096450, L31_0, [(-0.09,-0.39,0.09,0.39)])
R(m2_m1_cdns_676216096450, L32_0, [(-0.09,-0.39,0.09,0.39)])
A(m2_m1_cdns_676216096450, L51_0, -0.05, -0.35, 0.1, 0.1, 1, 4, 0, 0.2)

m3_m2_cdns_676216096453 = lib.new_cell('M3_M2_CDNS_676216096453')
R(m3_m2_cdns_676216096453, L32_0, [(-0.115,-0.115,0.115,0.115)])
R(m3_m2_cdns_676216096453, L33_0, [(-0.09,-0.09,0.09,0.09)])
R(m3_m2_cdns_676216096453, L52_0, [(-0.05,-0.05,0.05,0.05)])

m2_m1_cdns_676216096454 = lib.new_cell('M2_M1_CDNS_676216096454')
R(m2_m1_cdns_676216096454, L31_0, [(-0.09,-0.09,0.09,0.09)])
R(m2_m1_cdns_676216096454, L32_0, [(-0.115,-0.115,0.115,0.115)])
R(m2_m1_cdns_676216096454, L51_0, [(-0.05,-0.05,0.05,0.05)])

sky130_hilas_ta2cell_1fg = lib.new_cell('sky130_hilas_TA2Cell_1FG')
R(sky130_hilas_ta2cell_1fg, L3_0, [(21.795,0,23.78,0.2), (21.645,6.055,23.78,6.325)])
R(sky130_hilas_ta2cell_1fg, L17_0, [(4.43,0.29,4.515,0.91), (10.58,1.86,11.59,2.26), (10.35,1.935,10.58,2.15), (10.58,4,11.59,4.4), (10.35,4.105,10.58,4.32)])
R(sky130_hilas_ta2cell_1fg, L18_0, [(21.645,0,23.78,0.2), (21.645,6.055,23.78,6.325)])
R(sky130_hilas_ta2cell_1fg, L26_0, [(4.785,-0.005,7.59,0.95), (7.59,-0.005,10.265,1.095), (10.265,0.105,10.64,1.715), (11.475,0.105,11.74,6.06), (11.62,0.18,11.74,1.71), (11.74,0.695,17.01,0.995), (4.785,0.95,5.05,1.4), (11.74,0.995,12.37,1.055), (13.785,0.995,14.205,1.055), (16.745,0.995,17.01,1.055), (7.59,1.095,8.145,1.18), (8.98,1.095,10.265,2.49), (10.59,1.695,10.64,1.725), (11.58,1.71,11.74,4.995), (10.265,1.715,10.64,2.49), (8.98,3.535,10.64,6.12), (4.785,5.075,5.05,5.095), (7.59,5.075,8.145,5.225), (4.785,5.095,8.98,6.12), (11.74,5.265,12.37,5.315), (13.785,5.265,17.01,5.625), (11.74,5.315,13.785,5.625), (10.64,6.06,11.74,6.12)])
R(sky130_hilas_ta2cell_1fg, L31_0, [(9.225,0.29,9.59,1.46), (13.07,2.61,13.36,3.62), (11,2.625,11.265,2.65), (11,2.65,11.265,3.915), (16.91,3.47,18.87,3.69), (18.695,3.47,18.87,4.665), (18.695,4.445,19.72,4.665), (9.28,4.85,9.66,5.97), (22.7,6.01,22.97,6.15)])
R(sky130_hilas_ta2cell_1fg, L32_0, [(22.855,0,23.085,3.125), (13.01,0.135,13.33,0.515), (20.835,0.14,21.025,0.19), (21.275,0.14,21.555,0.19), (21.275,0.14,21.555,0.295), (24.96,0.14,25.3,0.2), (25.635,0.14,25.905,0.35), (23.72,0.17,24.62,0.2), (23.44,0.2,25.3,0.31), (23.44,0.31,23.78,0.34), (24.46,0.31,25.3,0.33), (24.46,0.33,25.005,0.34), (23.44,0.34,23.78,0.63), (20.425,3.26,20.46,3.295), (20.64,3.26,20.705,3.295), (16.91,3.47,17.555,3.69), (21.275,5.84,21.59,6.19), (0.24,5.86,0.56,6.19), (14.32,5.875,14.545,6.185), (10.985,5.985,11.285,6.185), (0.77,6.005,0.96,6.33), (25.635,6.025,25.905,6.33), (7.235,6.035,7.465,6.195), (25.635,6.04,25.905,6.19), (20.835,6.045,21.025,6.325), (25.005,6.05,25.305,6.19), (23.09,6.07,23.27,6.325), (20.835,6.11,21.025,6.19), (0.24,6.14,0.52,6.19), (21.275,6.14,21.555,6.19), (10.985,6.185,11.285,6.33), (13.095,6.185,13.325,6.33), (14.315,6.185,14.545,6.33), (0.285,6.19,0.49,6.33), (8.47,6.19,8.7,6.33), (21.34,6.19,21.475,6.33), (7.235,6.195,7.465,6.33)])
R(sky130_hilas_ta2cell_1fg, L33_0, [(13.01,0.135,13.33,0.515), (23.44,0.2,23.78,0.33), (13.01,0.33,23.78,0.49), (23.45,0.49,23.78,0.63), (0,0.64,0.175,0.82), (7.68,1.15,8.57,1.39), (23.55,1.165,23.645,1.2), (10.18,1.17,10.35,1.38), (13.62,1.2,24.01,1.36), (13.62,1.36,13.84,1.69), (7.68,1.39,8.16,1.4), (22.15,1.65,22.395,1.88), (8.18,1.69,13.84,1.91), (21.74,1.695,22.15,1.84), (23.8,2.2,23.85,2.21), (23.8,2.21,23.925,2.35), (18.07,2.31,22.2,2.52), (21.99,2.31,23.925,2.52), (18.07,2.52,18.32,3.2), (26.74,2.66,26.92,2.88), (26.81,2.66,26.92,2.88), (7.31,2.78,13.33,3.03), (23.365,3.125,23.57,3.355), (18.07,3.2,18.32,3.24), (18.07,3.24,18.32,4.44), (8.13,3.47,17.14,3.69), (26.7,3.48,26.92,3.71), (26.81,3.48,26.92,3.71), (23.52,4.05,23.74,4.38), (23.49,4.155,23.52,4.235), (8.18,4.44,18.32,4.66), (10.23,4.93,10.35,5.09), (23.35,4.95,23.72,5.29), (0,5.51,0.18,5.69), (0.24,5.805,0.3,5.84), (21.52,5.81,21.59,5.84), (0.24,5.84,0.56,6.19), (0.56,5.84,21.59,6.02), (22.39,5.92,22.7,6.16), (21.27,6.02,21.59,6.14), (21.27,6.14,21.59,6.19)])
R(sky130_hilas_ta2cell_1fg, L51_0, [(16.97,3.535,17.07,3.635)])
R(sky130_hilas_ta2cell_1fg, L52_0, [(16.97,3.535,17.07,3.635)])
R(sky130_hilas_ta2cell_1fg, L132_0, [(22.855,0.005,23.085,0.08), (25.635,6.18,25.905,6.31), (14.315,6.195,14.545,6.295), (10.985,6.2,11.285,6.3), (20.835,6.21,21.025,6.315), (23.09,6.21,23.27,6.3), (13.095,6.215,13.325,6.3), (0.77,6.23,0.96,6.325), (8.47,6.23,8.7,6.305), (0.285,6.25,0.49,6.325), (7.235,6.26,7.465,6.325)])
R(sky130_hilas_ta2cell_1fg, L133_0, [(0.03,0.665,0.145,0.785), (26.815,2.69,26.91,2.8), (26.83,3.52,26.91,3.62), (0.01,5.555,0.135,5.675)])
R(sky130_hilas_ta2cell_1fg, L143_0, [(10.64,0.105,11.58,6.06)])
sky130_hilas_ta2cell_1fg.add(gdstk.Reference(sky130_hilas_fgbias2x1ce, (10.275,0.01)))
sky130_hilas_ta2cell_1fg.add(gdstk.Reference(sky130_hilas_fgbiasweakg, (10.35,0), rotation=pi, x_reflection=True))
sky130_hilas_ta2cell_1fg.add(gdstk.Reference(c_sky130_hilas_ptransistor, (21.645,6.235), x_reflection=True))
sky130_hilas_ta2cell_1fg.add(gdstk.Reference(sky130_hilas_dualtacore0, (23.625,0.125)))
sky130_hilas_ta2cell_1fg.add(gdstk.Reference(m2_m1_cdns_676216096450, (13.21,3.2)))
sky130_hilas_ta2cell_1fg.add(gdstk.Reference(m3_m2_cdns_676216096451, (8.59,2.91)))
sky130_hilas_ta2cell_1fg.add(gdstk.Reference(m3_m2_cdns_676216096451, (13.21,2.885)))
sky130_hilas_ta2cell_1fg.add(gdstk.Reference(m3_m2_cdns_676216096452, (13.185,0.325)))
sky130_hilas_ta2cell_1fg.add(gdstk.Reference(m3_m2_cdns_676216096452, (0.39,5.995)))
sky130_hilas_ta2cell_1fg.add(gdstk.Reference(m3_m2_cdns_676216096452, (21.43,6)))
sky130_hilas_ta2cell_1fg.add(gdstk.Reference(m3_m2_cdns_676216096452, (23.61,0.44)))
sky130_hilas_ta2cell_1fg.add(gdstk.Reference(m3_m2_cdns_676216096453, (22.28,1.765)))
sky130_hilas_ta2cell_1fg.add(gdstk.Reference(m2_m1_cdns_676216096454, (22.28,1.765)))
sky130_hilas_ta2cell_1fg.add(gdstk.Label('VIN22', (22.885,6.2), layer=31, texttype=0))
sky130_hilas_ta2cell_1fg.add(gdstk.Label('VPWR', (25.805,6.24), layer=32, texttype=0))
sky130_hilas_ta2cell_1fg.add(gdstk.Label('GATE1', (14.425,6.27), layer=32, texttype=0))
sky130_hilas_ta2cell_1fg.add(gdstk.Label('COLSEL2', (0.9,6.255), layer=32, texttype=0))
sky130_hilas_ta2cell_1fg.add(gdstk.Label('COLSEL1', (20.94,6.24), layer=32, texttype=0))
sky130_hilas_ta2cell_1fg.add(gdstk.Label('GATE2', (7.345,6.145), layer=32, texttype=0))
sky130_hilas_ta2cell_1fg.add(gdstk.Label('VTUN', (11.105,6.22), layer=32, texttype=0))
sky130_hilas_ta2cell_1fg.add(gdstk.Label('VIN11', (10.3,5.02), layer=33, texttype=0))
sky130_hilas_ta2cell_1fg.add(gdstk.Label('VIN12', (10.28,1.285), layer=33, texttype=0))
sky130_hilas_ta2cell_1fg.add(gdstk.Label('DRAIN2', (0.27,0.75), layer=33, texttype=0))
sky130_hilas_ta2cell_1fg.add(gdstk.Label('VIN21', (23.505,3.26), layer=33, texttype=0))
sky130_hilas_ta2cell_1fg.add(gdstk.Label('out_two', (26.86,3.595), layer=133, texttype=0))
sky130_hilas_ta2cell_1fg.add(gdstk.Label('out_one', (26.845,2.765), layer=133, texttype=0))
sky130_hilas_ta2cell_1fg.add(gdstk.Label('drain_two', (0.09,0.745), layer=133, texttype=0))
sky130_hilas_ta2cell_1fg.add(gdstk.Label('drain_one', (0.07,5.64), layer=133, texttype=0))
sky130_hilas_ta2cell_1fg.add(gdstk.Label('vin22', (23.185,6.265), layer=132, texttype=0))
sky130_hilas_ta2cell_1fg.add(gdstk.Label('vin21', (22.975,0.08), layer=132, texttype=0))
sky130_hilas_ta2cell_1fg.add(gdstk.Label('vinj', (0.38,6.29), layer=132, texttype=0))
sky130_hilas_ta2cell_1fg.add(gdstk.Label('vpwr', (25.785,6.27), layer=132, texttype=0))
sky130_hilas_ta2cell_1fg.add(gdstk.Label('colsel1', (20.91,6.265), layer=132, texttype=0))
sky130_hilas_ta2cell_1fg.add(gdstk.Label('gate1', (14.435,6.245), layer=132, texttype=0))
sky130_hilas_ta2cell_1fg.add(gdstk.Label('gnd1', (13.225,6.265), layer=132, texttype=0))
sky130_hilas_ta2cell_1fg.add(gdstk.Label('vtun', (11.12,6.28), layer=132, texttype=0))
sky130_hilas_ta2cell_1fg.add(gdstk.Label('gnd2', (8.605,6.285), layer=132, texttype=0))
sky130_hilas_ta2cell_1fg.add(gdstk.Label('gate2', (7.35,6.275), layer=132, texttype=0))
sky130_hilas_ta2cell_1fg.add(gdstk.Label('colsel2', (0.88,6.295), layer=132, texttype=0))

lib.write_gds('sky130_hilas_TA2Cell_1FG.gds')
